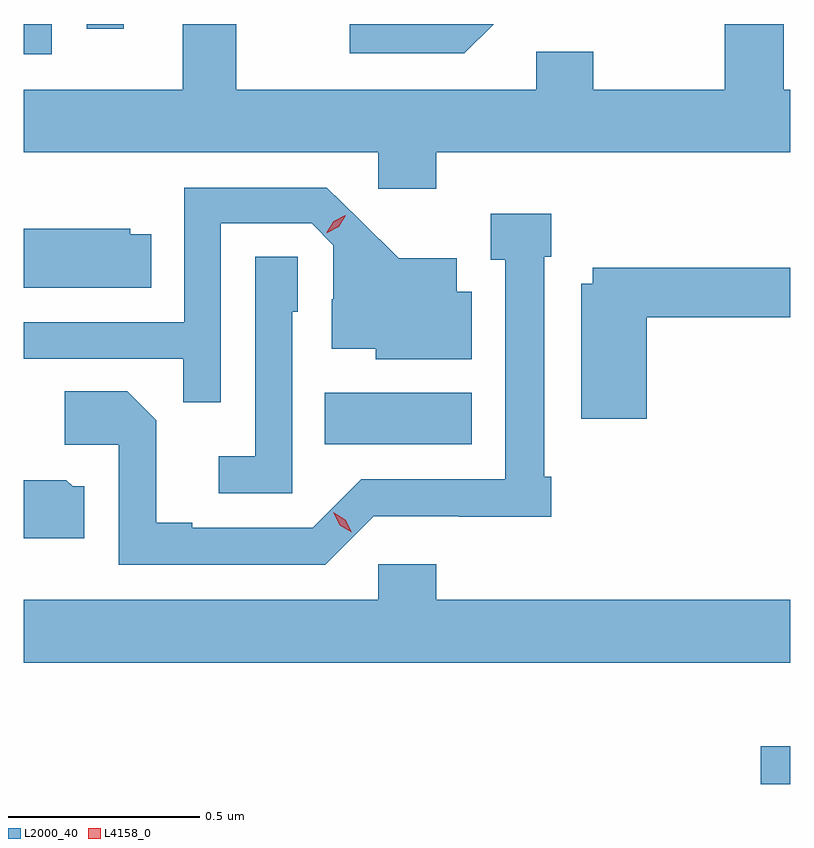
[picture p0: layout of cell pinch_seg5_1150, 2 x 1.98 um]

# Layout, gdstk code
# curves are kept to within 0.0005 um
import gdstk
lib = gdstk.Library(unit=1e-6, precision=1e-09)
def R(c, l, rs):  # rectangles x0, y0, x1, y1
    for r in rs: c.add(gdstk.rectangle(r[:2], r[2:], *l))
def P(c, l, *ps):  # polygons
    for p in ps: c.add(gdstk.Polygon(p, *l))
L2000_40 = (2000, 40)
L4158_0 = (4158, 0)

pinch_seg5_1150 = lib.new_cell('pinch_seg5_1150')
R(pinch_seg5_1150, L2000_40, [(794.073,837.795,794.149,837.894), (792.934,838.682,793.318,838.816), (792.149,839.7,792.222,839.779), (792.313,839.766,792.409,839.779)])
P(pinch_seg5_1150, L2000_40, [(793.375,839.779),(792.999,839.779),(792.999,839.703),(793.299,839.703)],
  [(793.226,839.444),(794.149,839.444),(794.149,839.608),(794.132,839.608),(794.132,839.779),(793.979,839.779),(793.979,839.608),(793.635,839.608),(793.635,839.707),(793.487,839.707),(793.487,839.608),(792.703,839.608),(792.703,839.779),(792.563,839.779),(792.563,839.608),(792.149,839.608),(792.149,839.444),(793.074,839.444),(793.074,839.349),(793.226,839.349)],
  [(792.663,839.259),(792.9,839.259),(792.957,839.202),(792.957,839.06),(792.953,839.06),(792.953,838.931),(793.068,838.931),(793.068,838.904),(793.318,838.904),(793.318,839.08),(793.279,839.08),(793.279,839.167),(793.127,839.167),(792.94,839.352),(792.567,839.352),(792.567,839.001),(792.149,839.001),(792.149,838.905),(792.565,838.905),(792.565,838.792),(792.663,838.792)],
  [(793.062,838.494),(793.284,838.494),(793.284,838.493),(793.525,838.493),(793.525,838.597),(793.507,838.597),(793.507,839.171),(793.525,839.171),(793.525,839.284),(793.367,839.284),(793.367,839.163),(793.406,839.163),(793.406,838.59),(793.029,838.59),(792.903,838.464),(792.589,838.464),(792.589,838.477),(792.495,838.477),(792.495,838.744),(792.419,838.82),(792.255,838.82),(792.255,838.68),(792.396,838.68),(792.396,838.368),(792.936,838.368)],
  [(792.482,839.23),(792.426,839.23),(792.426,839.245),(792.149,839.245),(792.149,839.09),(792.482,839.09)],
  [(792.849,839.028),(792.864,839.028),(792.864,839.171),(792.753,839.171),(792.753,838.651),(792.657,838.651),(792.657,838.554),(792.849,838.554)],
  [(793.775,839.014),(794.149,839.014),(794.149,839.143),(793.634,839.143),(793.634,839.101),(793.604,839.101),(793.604,838.749),(793.775,838.749)],
  [(792.307,838.572),(792.276,838.572),(792.26,838.588),(792.149,838.588),(792.149,838.436),(792.307,838.436)],
  [(794.149,838.276),(793.226,838.276),(793.226,838.369),(793.074,838.369),(793.074,838.276),(792.149,838.276),(792.149,838.112),(794.149,838.112)])
P(pinch_seg5_1150, L4158_0, [(793.005,838.452),(792.973,838.471),(792.956,838.504),(792.956,838.504),(792.957,838.504),(792.988,838.485),(793.005,838.452),(793.005,838.452)],
  [(792.94,839.234),(792.94,839.235),(792.958,839.264),(792.988,839.28),(792.989,839.28),(792.989,839.28),(792.971,839.25),(792.941,839.234)])

lib.write_gds('pinch_seg5_1150.gds')
